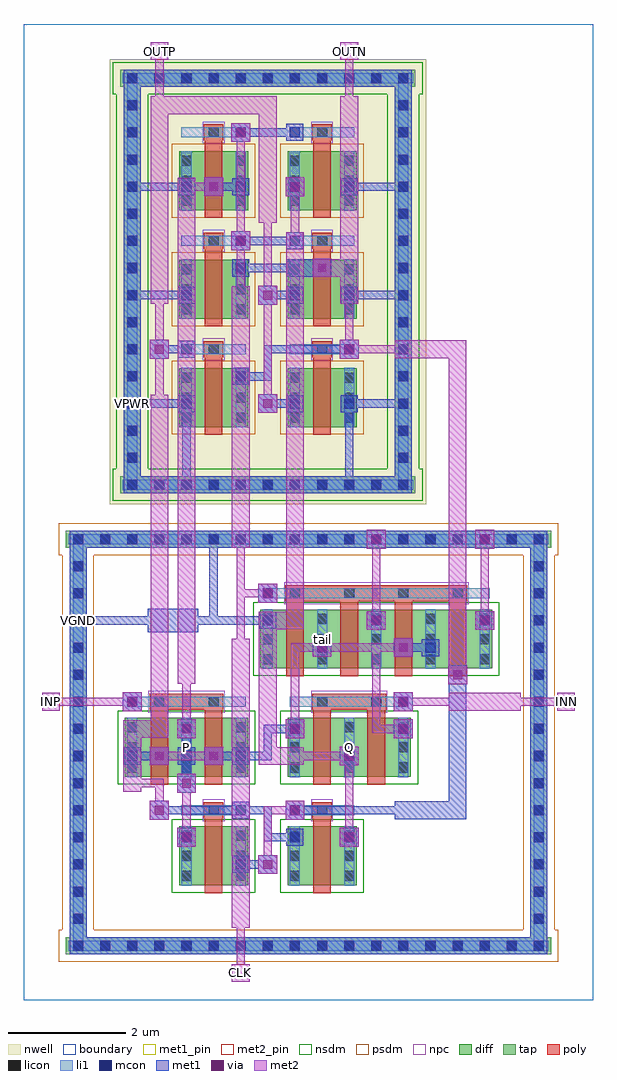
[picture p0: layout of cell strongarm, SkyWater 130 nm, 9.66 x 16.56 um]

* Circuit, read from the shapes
.subckt strongarm CLK INN INP OUTN OUTP P Q VGND VPWR tail
XM1 P INP tail VGND sky130_fd_pr__nfet_01v8 w=1 l=0.3 m=2
XM2 OUTN OUTP P VGND sky130_fd_pr__nfet_01v8 w=1 l=0.3
XM3 tail CLK VGND VGND sky130_fd_pr__nfet_01v8 w=1 l=0.3 m=4
XM4 Q OUTN OUTP VGND sky130_fd_pr__nfet_01v8 w=1 l=0.3
XM5 Q INN tail VGND sky130_fd_pr__nfet_01v8 w=1 l=0.3 m=2
XM6 OUTN OUTP VPWR VPWR sky130_fd_pr__pfet_01v8 w=1 l=0.3
XM7 OUTN CLK VPWR VPWR sky130_fd_pr__pfet_01v8 w=1 l=0.3
XM8 P CLK VPWR VPWR sky130_fd_pr__pfet_01v8 w=1 l=0.3
XM9 VPWR OUTN OUTP VPWR sky130_fd_pr__pfet_01v8 w=1 l=0.3
XM10 VPWR CLK OUTP VPWR sky130_fd_pr__pfet_01v8 w=1 l=0.3
XM11 VPWR CLK Q VPWR sky130_fd_pr__pfet_01v8 w=1 l=0.3
.ends

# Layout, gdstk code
import gdstk
lib = gdstk.Library(unit=1e-6, precision=1e-09)
def R(c, l, rs):  # rectangles x0, y0, x1, y1
    for r in rs: c.add(gdstk.rectangle(r[:2], r[2:], *l))
def A(c, l, x, y, w, h, nx, ny, dx, dy):  # array of equal rectangles
    R(c, l, [(x+i*dx, y+j*dy, x+i*dx+w, y+j*dy+h) for i in range(nx) for j in range(ny)])
nwell = (64, 20)
diff = (65, 20)
tap = (65, 44)
poly = (66, 20)
licon = (66, 44)
li1 = (67, 20)
mcon = (67, 44)
met1_pin = (68, 16)
met1 = (68, 20)
via = (68, 44)
met2_pin = (69, 16)
met2 = (69, 20)
nsdm = (93, 44)
psdm = (94, 20)
npc = (95, 20)
boundary = (235, 4)

strongarm = lib.new_cell('strongarm')
R(strongarm, nwell, [(1.455,8.415,6.825,15.965)])
A(strongarm, diff, 2.635, 9.72, 1.17, 1, 1, 3, 0, 1.84)
A(strongarm, diff, 4.475, 9.72, 1.17, 1, 1, 3, 0, 1.84)
R(strongarm, diff, [(2.635,1.945,3.805,2.945), (4.475,1.945,5.645,2.945), (1.715,3.785,3.805,4.785), (4.475,3.785,6.565,4.785), (4.015,5.625,7.945,6.625)])
R(strongarm, tap, [(0.715,0.775,8.945,1.065), (0.775,0.775,1.065,7.965), (8.595,0.775,8.885,7.965), (0.715,7.675,8.945,7.965), (1.635,8.595,6.645,8.885), (1.695,8.595,1.985,15.785), (6.295,8.595,6.585,15.785), (1.635,15.495,6.645,15.785)])
A(strongarm, poly, 4.45, 5.495, 0.3, 1.405, 4, 1, 0.92, 0)
A(strongarm, poly, 3.07, 9.59, 0.3, 1.45, 1, 3, 0, 1.84)
A(strongarm, poly, 4.91, 9.59, 0.3, 1.45, 1, 3, 0, 1.84)
A(strongarm, poly, 3.055, 10.905, 0.33, 0.27, 1, 3, 0, 1.84)
A(strongarm, poly, 4.895, 10.905, 0.33, 0.27, 1, 3, 0, 1.84)
R(strongarm, poly, [(3.07,1.815,3.37,3.22), (4.91,1.815,5.21,3.22), (3.055,3.085,3.385,3.355), (4.895,3.085,5.225,3.355), (2.15,3.655,2.45,5.06), (3.07,3.655,3.37,5.06), (4.91,3.655,5.21,5.06), (5.83,3.655,6.13,5.06), (2.135,4.925,3.385,5.195), (4.895,4.925,6.145,5.195), (4.435,6.765,7.525,7.035)])
A(strongarm, licon, 0.835, 0.835, 0.17, 0.17, 18, 2, 0.46, 6.9)
A(strongarm, licon, 0.835, 1.295, 0.17, 0.17, 1, 14, 0, 0.46)
A(strongarm, licon, 8.655, 1.295, 0.17, 0.17, 1, 14, 0, 0.46)
A(strongarm, licon, 2.675, 2.02, 0.17, 0.17, 4, 3, 0.92, 0.34)
A(strongarm, licon, 1.755, 3.86, 0.17, 0.17, 6, 3, 0.92, 0.34)
A(strongarm, licon, 4.055, 5.7, 0.17, 0.17, 5, 3, 0.92, 0.34)
A(strongarm, licon, 4.515, 6.815, 0.17, 0.17, 4, 1, 0.92, 0)
A(strongarm, licon, 1.755, 8.655, 0.17, 0.17, 11, 2, 0.46, 6.9)
A(strongarm, licon, 1.755, 9.115, 0.17, 0.17, 1, 14, 0, 0.46)
A(strongarm, licon, 6.355, 9.115, 0.17, 0.17, 1, 14, 0, 0.46)
A(strongarm, licon, 2.675, 9.795, 0.17, 0.17, 4, 3, 0.92, 0.34)
A(strongarm, licon, 3.135, 10.955, 0.17, 0.17, 1, 3, 0, 1.84)
A(strongarm, licon, 4.975, 10.955, 0.17, 0.17, 1, 3, 0, 1.84)
A(strongarm, licon, 2.675, 11.635, 0.17, 0.17, 4, 3, 0.92, 0.34)
A(strongarm, licon, 2.675, 13.475, 0.17, 0.17, 4, 3, 0.92, 0.34)
R(strongarm, licon, [(3.135,3.135,3.305,3.305), (4.975,3.135,5.145,3.305), (2.215,4.975,2.385,5.145), (3.135,4.975,3.305,5.145), (4.975,4.975,5.145,5.145), (5.895,4.975,6.065,5.145)])
A(strongarm, li1, 2.675, 1.94, 0.17, 1.01, 4, 2, 0.92, 7.775)
A(strongarm, li1, 1.755, 3.78, 0.17, 1.01, 6, 1, 0.92, 0)
A(strongarm, li1, 4.055, 5.62, 0.17, 1.01, 5, 1, 0.92, 0)
A(strongarm, li1, 2.675, 10.955, 1.09, 0.17, 1, 3, 0, 1.84)
A(strongarm, li1, 4.515, 10.955, 1.09, 0.17, 1, 3, 0, 1.84)
A(strongarm, li1, 2.675, 11.555, 0.17, 1.01, 4, 2, 0.92, 1.84)
R(strongarm, li1, [(0.755,0.835,8.905,1.005), (0.835,0.835,1.005,7.905), (8.655,0.835,8.825,7.905), (2.675,3.135,3.765,3.305), (4.515,3.135,5.605,3.305), (1.755,4.975,3.765,5.145), (4.515,4.975,6.525,5.145), (4.055,6.815,7.905,6.985), (0.755,7.735,8.905,7.905), (1.675,8.655,6.605,8.825), (1.755,8.655,1.925,15.725), (6.355,8.655,6.525,15.725), (1.675,15.555,6.605,15.725)])
A(strongarm, mcon, 0.835, 0.835, 0.17, 0.17, 18, 2, 0.46, 6.9)
A(strongarm, mcon, 0.835, 1.295, 0.17, 0.17, 1, 3, 0, 0.46)
A(strongarm, mcon, 8.655, 1.295, 0.17, 0.17, 1, 10, 0, 0.46)
A(strongarm, mcon, 0.835, 2.675, 0.17, 0.17, 3, 1, 1.84, 0)
A(strongarm, mcon, 0.835, 4.055, 0.17, 0.17, 4, 1, 0.92, 0)
A(strongarm, mcon, 0.835, 4.515, 0.17, 0.17, 1, 7, 0, 0.46)
A(strongarm, mcon, 4.975, 5.895, 0.17, 0.17, 3, 1, 1.84, 0)
A(strongarm, mcon, 4.055, 6.355, 0.17, 0.17, 3, 1, 1.84, 0)
A(strongarm, mcon, 8.655, 6.355, 0.17, 0.17, 1, 3, 0, 0.46)
A(strongarm, mcon, 1.755, 8.655, 0.17, 0.17, 11, 2, 0.46, 6.9)
A(strongarm, mcon, 1.755, 9.115, 0.17, 0.17, 1, 10, 0, 0.46)
A(strongarm, mcon, 2.675, 10.035, 0.17, 0.17, 1, 3, 0, 0.92)
A(strongarm, mcon, 4.515, 10.035, 0.17, 0.17, 3, 2, 0.92, 1.84)
A(strongarm, mcon, 6.355, 10.495, 0.17, 0.17, 1, 3, 0, 0.46)
A(strongarm, mcon, 6.355, 12.335, 0.17, 0.17, 1, 3, 0, 0.46)
A(strongarm, mcon, 1.755, 13.715, 0.17, 0.17, 6, 1, 0.92, 0)
A(strongarm, mcon, 1.755, 14.175, 0.17, 0.17, 1, 3, 0, 0.46)
A(strongarm, mcon, 6.355, 14.175, 0.17, 0.17, 1, 3, 0, 0.46)
R(strongarm, mcon, [(3.595,2.215,3.765,2.385), (5.435,2.675,5.605,2.845), (0.835,3.135,1.005,3.305), (3.595,3.135,3.765,3.305), (4.515,3.135,4.685,3.305), (0.835,3.595,1.005,3.765), (5.435,4.055,5.605,4.225), (4.515,4.515,4.685,4.685), (6.355,4.515,6.525,4.685), (1.755,4.975,1.925,5.145), (6.355,4.975,6.525,5.145), (4.055,6.815,4.225,6.985), (6.355,9.115,6.525,9.285), (6.355,9.575,6.525,9.745), (3.595,10.495,3.765,10.665), (5.435,10.955,5.605,11.125), (3.595,12.335,3.765,12.505), (3.595,12.795,3.765,12.965), (4.515,12.795,4.685,12.965), (3.595,14.635,3.765,14.805), (4.515,14.635,4.685,14.805)])
R(strongarm, met1_pin, [(0.85,6.37,0.99,6.51), (1.77,10.05,1.91,10.19)])
A(strongarm, met1, 3.61, 2.23, 0.6, 0.14, 1, 3, 0, 0.92)
A(strongarm, met1, 1.695, 3.995, 0.29, 0.29, 3, 1, 0.92, 0)
A(strongarm, met1, 2.6, 4.44, 0.32, 0.32, 3, 1, 1.84, 0)
A(strongarm, met1, 3.995, 6.295, 0.29, 0.29, 3, 1, 1.84, 0)
A(strongarm, met1, 2.615, 9.975, 0.29, 0.29, 1, 3, 0, 0.92)
A(strongarm, met1, 5.375, 9.975, 0.29, 0.29, 1, 3, 0, 0.92)
A(strongarm, met1, 1.77, 10.05, 1.06, 0.14, 1, 3, 0, 1.84)
A(strongarm, met1, 1.77, 10.05, 0.14, 1.98, 1, 3, 0, 1.84)
A(strongarm, met1, 5.45, 10.05, 1.06, 0.14, 1, 3, 0, 1.84)
A(strongarm, met1, 2.615, 13.655, 0.29, 0.29, 4, 1, 0.92, 0)
R(strongarm, met1, [(0.775,0.775,8.885,1.065), (0.775,0.775,1.065,7.965), (8.595,0.775,8.885,7.965), (3.98,2.14,4.3,2.46), (3.535,2.155,3.825,2.445), (2.6,2.6,2.92,2.92), (5.36,2.6,5.68,2.92), (2.615,2.615,2.905,2.905), (4.455,2.615,4.745,2.905), (5.375,2.615,5.665,2.905), (4.07,2.69,4.67,2.83), (4.07,2.69,4.21,3.29), (2.14,3.06,2.46,3.38), (4.44,3.06,4.76,3.38), (6.29,3.07,7.51,3.37), (7.21,3.07,7.51,5.67), (3.535,3.075,3.825,3.365), (4.455,3.075,4.745,3.365), (2.23,3.15,3.75,3.29), (4.53,3.15,6.51,3.29), (2.6,3.52,2.92,3.84), (2.69,3.61,2.83,4.21), (2.14,3.98,2.46,4.3), (3.06,3.98,3.38,4.3), (5.36,3.98,5.68,4.3), (5.375,3.995,5.665,4.285), (1.77,4.07,2.37,4.21), (2.69,4.07,2.83,4.67), (3.15,4.07,3.75,4.21), (4.07,4.07,4.21,4.67), (4.455,4.455,4.745,4.745), (6.295,4.455,6.585,4.745), (4.07,4.53,4.67,4.67), (1.68,4.9,2,5.22), (6.28,4.9,6.6,5.22), (1.695,4.915,1.985,5.205), (6.295,4.915,6.585,5.205), (7.2,5.36,7.52,5.68), (4.9,5.82,5.22,6.14), (6.28,5.82,6.6,6.14), (4.915,5.835,5.205,6.125), (6.755,5.835,7.045,6.125), (6.37,5.91,6.97,6.05), (2.1,6.24,2.96,6.64), (5.82,6.28,6.14,6.6), (7.66,6.28,7.98,6.6), (0.85,6.37,2.37,6.51), (0.85,6.37,0.99,6.51), (2.69,6.37,3.29,6.51), (3.15,6.37,3.29,7.89), (3.15,6.37,4.21,6.51), (3.98,6.74,4.3,7.06), (3.995,6.755,4.285,7.045), (5.82,7.66,6.14,7.98), (7.66,7.66,7.98,7.98), (0.775,7.675,8.885,7.965), (3.15,7.75,6.05,7.89), (3.15,7.75,3.29,7.89), (5.91,7.75,7.89,7.89), (1.695,8.595,6.585,8.885), (1.695,8.595,1.985,15.785), (6.295,8.595,6.585,15.785), (2.69,8.67,5.59,8.81), (2.69,8.67,2.83,10.19), (5.45,8.67,5.59,10.19), (3.98,9.96,4.3,10.28), (4.455,9.975,4.745,10.265), (1.77,10.05,1.91,10.19), (4.07,10.05,4.67,10.19), (6.37,10.05,6.51,12.03), (3.535,10.435,3.825,10.725), (3.61,10.51,4.21,10.65), (4.07,10.51,4.21,11.11), (2.14,10.88,2.46,11.2), (5.36,10.88,5.68,11.2), (2.23,10.97,2.83,11.11), (4.07,10.97,5.59,11.11), (3.98,11.8,4.3,12.12), (4.455,11.815,4.745,12.105), (4.07,11.89,4.67,12.03), (6.37,11.89,6.51,13.87), (4.9,12.26,5.22,12.58), (4.45,12.27,5.21,12.57), (3.535,12.275,3.825,12.565), (3.61,12.35,4.67,12.49), (3.52,12.72,3.84,13.04), (3.535,12.735,3.825,13.025), (4.455,12.735,4.745,13.025), (3.61,12.81,4.67,12.95), (3.06,13.64,3.38,13.96), (4.44,13.64,4.76,13.96), (3.15,13.73,3.75,13.87), (3.52,14.56,3.84,14.88), (3.535,14.575,3.825,14.865), (4.455,14.575,4.745,14.865), (3.61,14.65,4.67,14.79), (1.695,15.495,6.585,15.785), (1.77,15.57,1.91,15.71)])
A(strongarm, via, 2.685, 4.525, 0.15, 0.15, 3, 1, 1.84, 0)
R(strongarm, via, [(4.065,2.225,4.215,2.375), (2.685,2.685,2.835,2.835), (5.445,2.685,5.595,2.835), (2.225,3.145,2.375,3.295), (4.525,3.145,4.675,3.295), (2.685,3.605,2.835,3.755), (2.225,4.065,2.375,4.215), (3.145,4.065,3.295,4.215), (5.445,4.065,5.595,4.215), (1.765,4.985,1.915,5.135), (6.365,4.985,6.515,5.135), (7.285,5.445,7.435,5.595), (4.985,5.905,5.135,6.055), (6.365,5.905,6.515,6.055), (5.905,6.365,6.055,6.515), (7.745,6.365,7.895,6.515), (4.065,6.825,4.215,6.975), (5.905,7.745,6.055,7.895), (7.745,7.745,7.895,7.895), (4.065,10.045,4.215,10.195), (2.225,10.965,2.375,11.115), (5.445,10.965,5.595,11.115), (4.065,11.885,4.215,12.035), (4.985,12.345,5.135,12.495), (3.605,12.805,3.755,12.955), (3.145,13.725,3.295,13.875), (4.525,13.725,4.675,13.875), (3.605,14.645,3.755,14.795)])
R(strongarm, met2_pin, [(3.53,0.31,3.83,0.61), (0.31,4.91,0.61,5.21), (9.05,4.91,9.35,5.21), (2.15,15.95,2.45,16.25), (5.37,15.95,5.67,16.25)])
A(strongarm, met2, 2.6, 4.44, 0.32, 0.32, 3, 1, 1.84, 0)
R(strongarm, met2, [(3.53,0.31,3.83,0.61), (3.61,0.39,3.75,1.45), (3.61,0.39,3.75,0.53), (3.53,1.23,3.83,6.13), (3.98,2.14,4.3,2.46), (4.07,2.23,4.21,3.29), (2.6,2.6,2.92,2.92), (5.36,2.6,5.68,2.92), (2.69,2.69,2.83,3.75), (5.45,2.69,5.59,4.21), (2.14,3.06,2.46,3.38), (4.44,3.06,4.76,3.38), (2.23,3.15,2.37,3.75), (4.07,3.15,4.67,3.29), (2.6,3.52,2.92,3.84), (1.69,3.53,1.99,4.75), (1.77,3.61,2.37,3.75), (2.14,3.98,2.46,4.3), (3.06,3.98,3.38,4.3), (5.36,3.98,5.68,4.3), (3.99,3.99,4.75,4.29), (3.99,3.99,4.29,6.59), (2.23,4.07,3.29,4.21), (4.53,4.07,5.59,4.21), (1.69,4.45,2.45,4.75), (2.15,4.45,2.45,10.27), (2.69,4.53,2.83,5.59), (4.53,4.53,4.67,6.05), (5.91,4.53,6.51,4.67), (5.91,4.53,6.05,6.05), (1.68,4.9,2,5.22), (6.28,4.9,6.6,5.22), (0.31,4.91,0.61,5.21), (7.21,4.91,8.43,5.21), (9.05,4.91,9.35,5.21), (0.39,4.99,0.53,5.13), (0.39,4.99,1.91,5.13), (6.37,4.99,7.43,5.13), (8.21,4.99,9.27,5.13), (9.13,4.99,9.27,5.13), (7.2,5.36,7.52,5.68), (2.61,5.37,2.91,13.95), (7.21,5.37,7.51,11.19), (4.9,5.82,5.22,6.14), (6.28,5.82,6.6,6.14), (3.61,5.91,3.75,6.97), (4.53,5.91,5.13,6.05), (4.99,5.91,6.51,6.05), (5.82,6.28,6.14,6.6), (7.66,6.28,7.98,6.6), (3.99,6.29,4.75,6.59), (4.45,6.29,4.75,13.03), (5.91,6.37,6.05,7.89), (7.75,6.37,7.89,7.89), (3.98,6.74,4.3,7.06), (3.61,6.83,3.75,7.89), (3.61,6.83,4.21,6.97), (5.82,7.66,6.14,7.98), (7.66,7.66,7.98,7.98), (3.53,7.67,3.83,12.11), (3.98,9.96,4.3,10.28), (2.23,10.05,2.37,11.11), (4.07,10.05,4.21,12.03), (2.14,10.88,2.46,11.2), (5.36,10.88,5.68,11.2), (6.29,10.89,7.51,11.19), (2.23,10.97,2.37,12.03), (5.45,10.97,5.59,12.03), (5.45,10.97,6.51,11.11), (3.98,11.8,4.3,12.12), (2.15,11.81,2.45,15.33), (5.37,11.81,5.67,15.33), (3.61,11.89,3.75,12.95), (4.07,11.89,4.21,13.41), (4.9,12.26,5.22,12.58), (4.91,12.27,5.67,12.57), (3.52,12.72,3.84,13.04), (3.61,12.81,3.75,14.79), (4.53,12.81,4.67,13.87), (3.99,13.19,4.29,15.33), (3.06,13.64,3.38,13.96), (4.44,13.64,4.76,13.96), (2.69,13.73,3.29,13.87), (3.52,14.56,3.84,14.88), (2.15,15.03,4.29,15.33), (2.23,15.11,2.37,16.17), (5.45,15.11,5.59,16.17), (2.15,15.95,2.45,16.25), (5.37,15.95,5.67,16.25), (2.23,16.03,2.37,16.17), (5.45,16.03,5.59,16.17)])
R(strongarm, nsdm, [(2.51,1.82,3.93,3.07), (4.35,1.82,5.77,3.07), (1.59,3.66,3.93,4.91), (4.35,3.66,6.69,4.91), (3.89,5.5,8.07,6.75), (1.51,8.47,6.77,9.01), (1.57,9.01,2.11,15.37), (6.17,9.01,6.71,15.37), (1.51,15.37,6.77,15.91)])
A(strongarm, psdm, 2.51, 9.595, 1.42, 1.25, 1, 3, 0, 1.84)
A(strongarm, psdm, 4.35, 9.595, 1.42, 1.25, 1, 3, 0, 1.84)
R(strongarm, psdm, [(0.59,0.65,9.07,1.19), (0.65,1.19,1.19,7.55), (8.47,1.19,9.01,7.55), (0.59,7.55,9.07,8.09)])
A(strongarm, npc, 3.035, 10.855, 0.37, 0.37, 1, 3, 0, 1.84)
A(strongarm, npc, 4.875, 10.855, 0.37, 0.37, 1, 3, 0, 1.84)
R(strongarm, npc, [(3.035,3.035,3.405,3.405), (4.875,3.035,5.245,3.405), (2.115,4.875,3.405,5.245), (4.875,4.875,6.165,5.245), (4.415,6.715,7.545,7.085)])
R(strongarm, boundary, [(0,0,9.66,16.56)])
strongarm.add(gdstk.Label('tail', (5.06,6.125), layer=67, texttype=5))
strongarm.add(gdstk.Label('P', (2.76,4.285), layer=67, texttype=5))
strongarm.add(gdstk.Label('Q', (5.52,4.285), layer=67, texttype=5))
strongarm.add(gdstk.Label('VPWR', (1.84,10.12), layer=68, texttype=5))
strongarm.add(gdstk.Label('VGND', (0.92,6.44), layer=68, texttype=5))
strongarm.add(gdstk.Label('CLK', (3.68,0.46), layer=69, texttype=5))
strongarm.add(gdstk.Label('INP', (0.46,5.06), layer=69, texttype=5))
strongarm.add(gdstk.Label('INN', (9.2,5.06), layer=69, texttype=5))
strongarm.add(gdstk.Label('OUTP', (2.3,16.1), layer=69, texttype=5))
strongarm.add(gdstk.Label('OUTN', (5.52,16.1), layer=69, texttype=5))
strongarm.add(gdstk.Label('VPWR', (1.84,10.12), layer=68, texttype=16))
strongarm.add(gdstk.Label('VGND', (0.92,6.44), layer=68, texttype=16))
strongarm.add(gdstk.Label('CLK', (3.68,0.46), layer=69, texttype=16))
strongarm.add(gdstk.Label('INP', (0.46,5.06), layer=69, texttype=16))
strongarm.add(gdstk.Label('INN', (9.2,5.06), layer=69, texttype=16))
strongarm.add(gdstk.Label('OUTP', (2.3,16.1), layer=69, texttype=16))
strongarm.add(gdstk.Label('OUTN', (5.52,16.1), layer=69, texttype=16))

lib.write_gds('strongarm.gds')
